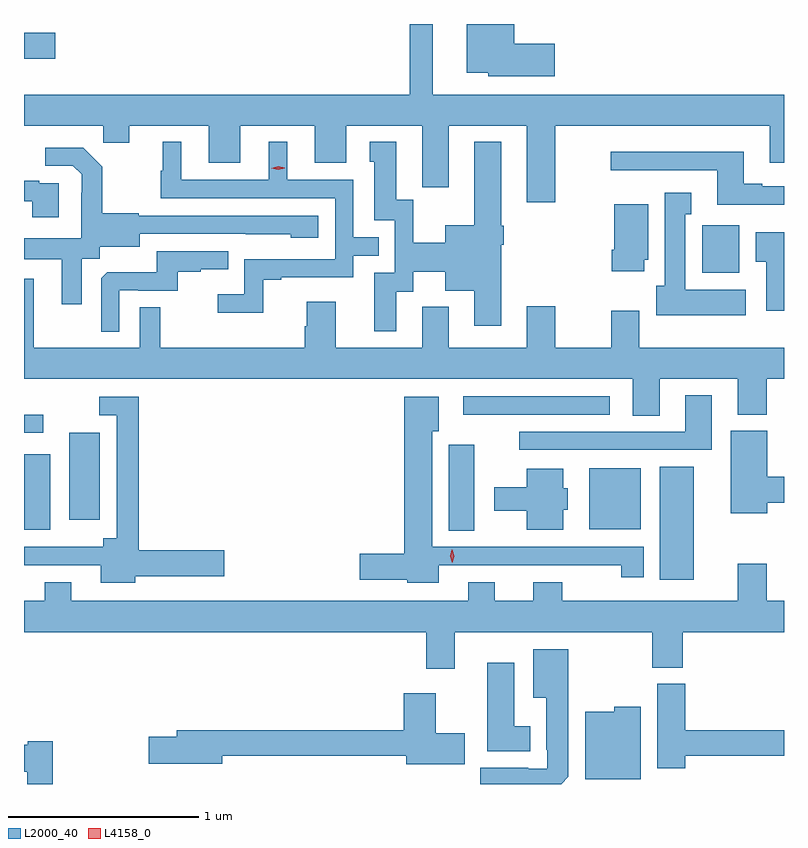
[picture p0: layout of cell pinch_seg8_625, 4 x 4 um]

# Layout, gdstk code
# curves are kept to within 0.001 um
import gdstk
lib = gdstk.Library(unit=1e-6, precision=1e-09)
def R(c, l, rs):  # rectangles x0, y0, x1, y1
    for r in rs: c.add(gdstk.rectangle(r[:2], r[2:], *l))
def P(c, l, *ps):  # polygons
    for p in ps: c.add(gdstk.Polygon(p, *l))
L2000_40 = (2000, 40)
L4158_0 = (4158, 0)

pinch_seg8_625 = lib.new_cell('pinch_seg8_625')
R(pinch_seg8_625, L2000_40, [(339.854,1116.776,340.033,1117.369), (338.744,1117.033,338.878,1117.486), (336.508,1117.037,336.646,1117.435), (339.482,1117.04,339.754,1117.363), (336.746,1117.092,336.907,1117.549), (336.508,1117.548,336.61,1117.644), (338.82,1117.644,339.592,1117.74), (340.077,1118.39,340.273,1118.64), (336.508,1119.518,336.673,1119.653)])
P(pinch_seg8_625, L2000_40, [(339.303,1119.164),(340.433,1119.164),(340.433,1118.97),(340.508,1118.97),(340.508,1119.328),(338.659,1119.328),(338.659,1119.7),(338.538,1119.7),(338.538,1119.328),(336.508,1119.328),(336.508,1119.164),(336.925,1119.164),(336.925,1119.074),(337.063,1119.074),(337.063,1119.164),(337.481,1119.164),(337.481,1118.97),(337.645,1118.97),(337.645,1119.164),(338.039,1119.164),(338.039,1118.97),(338.203,1118.97),(338.203,1119.164),(338.603,1119.164),(338.603,1118.953),(338.604,1118.953),(338.604,1118.841),(338.743,1118.841),(338.743,1119.164),(339.155,1119.164),(339.155,1118.763),(339.303,1118.763)],
  [(339.301,1119.596),(339.088,1119.596),(339.088,1119.7),(338.837,1119.7),(338.837,1119.443),(338.952,1119.443),(338.952,1119.425),(339.301,1119.425)],
  [(338.467,1118.29),(338.557,1118.29),(338.557,1118.396),(338.726,1118.396),(338.726,1118.297),(338.879,1118.297),(338.879,1118.112),(339.019,1118.112),(339.019,1118.537),(339.032,1118.537),(339.032,1118.637),(339.019,1118.637),(339.019,1119.079),(338.879,1119.079),(338.879,1118.641),(338.726,1118.641),(338.726,1118.548),(338.556,1118.548),(338.556,1118.775),(338.467,1118.775),(338.467,1119.079),(338.327,1119.079),(338.327,1118.976),(338.351,1118.976),(338.351,1118.667),(338.46,1118.667),(338.46,1118.391),(338.351,1118.391),(338.351,1118.082),(338.467,1118.082)],
  [(337.767,1118.355),(337.861,1118.355),(337.861,1118.367),(338.241,1118.367),(338.241,1118.481),(338.375,1118.481),(338.375,1118.577),(338.241,1118.577),(338.241,1118.88),(337.894,1118.88),(337.894,1119.079),(337.796,1119.079),(337.796,1118.88),(337.336,1118.88),(337.336,1119.079),(337.238,1119.079),(337.238,1118.928),(337.227,1118.928),(337.227,1118.784),(338.145,1118.784),(338.145,1118.463),(337.668,1118.463),(337.668,1118.278),(337.527,1118.278),(337.527,1118.18),(337.767,1118.18)],
  [(336.811,1118.464),(336.906,1118.464),(336.906,1118.528),(337.117,1118.528),(337.117,1118.595),(337.911,1118.594),(337.911,1118.576),(338.056,1118.576),(338.056,1118.691),(337.113,1118.691),(337.113,1118.704),(336.921,1118.704),(336.921,1118.949),(336.821,1119.049),(336.621,1119.049),(336.621,1118.955),(336.765,1118.955),(336.812,1118.908),(336.812,1118.813),(336.81,1118.813),(336.81,1118.572),(336.508,1118.572),(336.508,1118.462),(336.707,1118.462),(336.707,1118.226),(336.811,1118.226)],
  [(340.508,1118.847),(340.393,1118.847),(340.393,1118.86),(340.297,1118.86),(340.297,1119.028),(339.597,1119.028),(339.597,1118.931),(340.157,1118.931),(340.157,1118.75),(340.508,1118.75)],
  [(336.691,1118.862),(336.587,1118.862),(336.587,1118.875),(336.508,1118.875),(336.508,1118.766),(336.551,1118.766),(336.551,1118.682),(336.691,1118.682)],
  [(340.306,1118.302),(339.988,1118.302),(339.988,1118.699),(340.021,1118.699),(340.021,1118.812),(339.881,1118.812),(339.881,1118.322),(339.836,1118.322),(339.836,1118.168),(340.306,1118.168)],
  [(339.772,1118.46),(339.793,1118.46),(339.793,1118.752),(339.614,1118.752),(339.614,1118.512),(339.602,1118.512),(339.602,1118.4),(339.772,1118.4)],
  [(340.508,1118.605),(340.358,1118.605),(340.358,1118.449),(340.415,1118.449),(340.415,1118.19),(340.508,1118.19)],
  [(337.008,1118.298),(337.108,1118.298),(337.108,1118.295),(337.316,1118.295),(337.316,1118.397),(337.439,1118.397),(337.439,1118.408),(337.583,1118.408),(337.583,1118.505),(337.206,1118.505),(337.206,1118.393),(336.947,1118.393),(336.915,1118.361),(336.915,1118.081),(337.008,1118.081)],
  [(339.853,1117.832),(340.265,1117.832),(340.265,1117.643),(340.418,1117.643),(340.418,1117.832),(340.508,1117.832),(340.508,1117.996),(339.745,1117.996),(339.745,1118.191),(339.598,1118.191),(339.598,1117.996),(339.303,1117.996),(339.303,1118.215),(339.155,1118.215),(339.155,1117.996),(338.743,1117.996),(338.743,1118.212),(338.603,1118.212),(338.603,1117.996),(338.149,1117.996),(338.149,1118.239),(337.997,1118.239),(337.997,1118.109),(337.985,1118.109),(337.985,1117.996),(337.225,1117.996),(337.225,1118.21),(337.116,1118.21),(337.116,1117.996),(336.559,1117.996),(336.559,1118.359),(336.508,1118.359),(336.508,1117.832),(339.713,1117.832),(339.713,1117.639),(339.853,1117.639)],
  [(340.129,1117.747),(339.989,1117.747),(339.989,1117.554),(339.114,1117.554),(339.114,1117.458),(340.129,1117.458)],
  [(338.692,1116.852),(339.424,1116.852),(339.424,1116.851),(339.652,1116.851),(339.652,1116.789),(339.769,1116.789),(339.769,1116.948),(338.656,1116.948),(338.656,1117.556),(338.692,1117.556),(338.692,1117.738),(338.51,1117.738),(338.51,1116.911),(338.274,1116.911),(338.274,1116.776),(338.526,1116.776),(338.526,1116.758),(338.692,1116.758)],
  [(337.093,1116.794),(337.561,1116.794),(337.561,1116.929),(337.112,1116.929),(337.112,1117.737),(336.903,1117.737),(336.903,1117.64),(336.996,1117.64),(336.996,1116.994),(336.926,1116.994),(336.926,1116.948),(336.508,1116.948),(336.508,1116.852),(336.911,1116.852),(336.911,1116.758),(337.093,1116.758)],
  [(340.42,1117.18),(340.508,1117.18),(340.508,1117.316),(340.42,1117.316),(340.42,1117.558),(340.229,1117.558),(340.229,1117.124),(340.42,1117.124)],
  [(339.346,1117.143),(339.37,1117.143),(339.37,1117.257),(339.346,1117.257),(339.346,1117.36),(339.155,1117.36),(339.155,1117.261),(338.982,1117.261),(338.982,1117.139),(339.155,1117.139),(339.155,1117.037),(339.346,1117.037)],
  [(338.776,1116.5),(339.814,1116.5),(339.814,1116.313),(339.974,1116.313),(339.974,1116.5),(340.508,1116.5),(340.508,1116.664),(340.418,1116.664),(340.418,1116.859),(340.265,1116.859),(340.265,1116.664),(339.341,1116.664),(339.341,1116.763),(339.188,1116.763),(339.188,1116.664),(338.986,1116.664),(338.986,1116.763),(338.846,1116.763),(338.846,1116.664),(336.757,1116.664),(336.757,1116.763),(336.617,1116.763),(336.617,1116.664),(336.508,1116.664),(336.508,1116.5),(338.624,1116.5),(338.624,1116.306),(338.776,1116.306)],
  [(339.373,1115.737),(339.373,1116.409),(339.188,1116.409),(339.188,1116.155),(339.257,1116.155),(339.257,1115.881),(339.261,1115.881),(339.261,1115.781),(339.161,1115.781),(339.161,1115.785),(338.909,1115.785),(338.909,1115.7),(339.336,1115.7)],
  [(339.172,1116.004),(339.088,1116.004),(339.088,1116.337),(338.945,1116.337),(338.945,1115.873),(339.172,1115.873)],
  [(339.989,1115.848),(340.508,1115.848),(340.508,1115.984),(339.989,1115.984),(339.989,1116.228),(339.842,1116.228),(339.842,1115.784),(339.989,1115.784)],
  [(338.827,1115.967),(338.674,1115.967),(338.674,1116.178),(338.507,1116.178),(338.507,1115.984),(337.313,1115.984),(337.313,1115.948),(337.164,1115.948),(337.164,1115.806),(337.552,1115.806),(337.552,1115.848),(338.519,1115.848),(338.519,1115.804),(338.827,1115.804)],
  [(339.754,1116.106),(339.615,1116.106),(339.615,1116.079),(339.461,1116.079),(339.461,1115.726),(339.754,1115.726)],
  [(336.659,1115.924),(336.528,1115.924),(336.528,1115.906),(336.508,1115.906),(336.508,1115.764),(336.524,1115.764),(336.524,1115.7),(336.659,1115.7)])
P(pinch_seg8_625, L4158_0, [(338.763,1116.864),(338.763,1116.864),(338.752,1116.899),(338.76,1116.934),(338.761,1116.934),(338.761,1116.934),(338.772,1116.899),(338.763,1116.864)],
  [(337.845,1118.932),(337.81,1118.941),(337.809,1118.941),(337.81,1118.941),(337.845,1118.952),(337.88,1118.943),(337.881,1118.942),(337.88,1118.942)])

lib.write_gds('pinch_seg8_625.gds')
